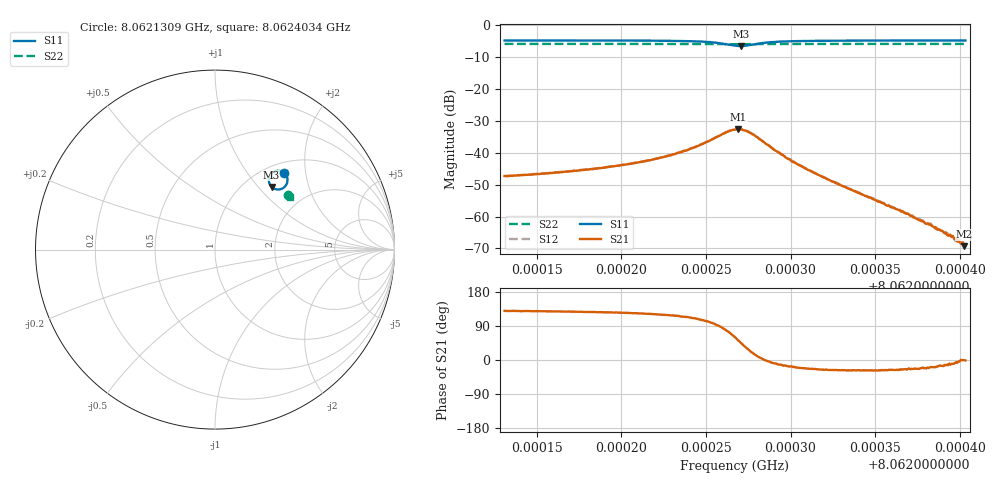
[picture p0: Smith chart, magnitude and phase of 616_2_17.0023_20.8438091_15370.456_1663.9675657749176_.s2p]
#  HZ  S  RI  R  50.00
! Rohde & Schwarz Vector Network Analyzer
! Rohde-Schwarz,ZNB20-2Port,1311601062101988,3.16
! Created: UTC 3/20/2024, 11:19:44 PM
! freq[Hz]  re:S11  im:S11  re:S21  im:S21  re:S12  im:S12  re:S22  im:S22
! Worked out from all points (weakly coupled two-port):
!   401 points, 8.0621309 GHz to 8.0624034 GHz, reference 50 ohm
!   highest |S21| = -32.59 dB at 8.0622692 GHz (marker M1); lowest = -69.3 dB at 8.0624028 GHz (marker M2)
!   lowest |S11| = -6.5 dB at 8.0622706 GHz (marker M3), VSWR 2.78, Z = 65.9 + j59.2 ohm
!   |S11| at or under -10 dB: nowhere
!   |S22| runs from -6.0 to -5.9 dB; largest |S21 - S12| = 0.0014
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8.06213089e9  0.3864 0.427  -0.00277 0.00331  -0.00257 0.0035  0.407 0.3042
8.06217654e9  0.3919 0.4208  -0.00323 0.00425  -0.00302 0.00448  0.4087 0.3018
8.06219835e9  0.3953 0.416  -0.00358 0.00515  -0.0033 0.00542  0.4093 0.3005
8.06222219e9  0.4002 0.4061  -0.00414 0.00712  -0.00376 0.00743  0.4104 0.2989
8.06223719e9  0.4034 0.3938  -0.00442 0.00984  -0.00374 0.01  0.4108 0.2975
8.06225286e9  0.399 0.3651  -0.00236 0.0157  -0.00157 0.0159  0.4108 0.2955
8.06226308e9  0.3659 0.337  0.00562 0.0208  0.00669 0.0206  0.4093 0.2944
8.06226717e9  0.3383 0.3367  0.0115 0.0201  0.0127 0.0195  0.4081 0.2945
8.06226921e9  0.324 0.3428  0.0147 0.0183  0.0157 0.0177  0.4077 0.2949
8.06227057e9  0.3155 0.3494  0.0163 0.0166  0.0174 0.0159  0.4075 0.2952
8.06227671e9  0.2995 0.3898  0.0188 0.00739  0.0194 0.00653  0.4076 0.2969
8.06228625e9  0.32 0.4283  0.0134 -0.000614  0.0135 -0.00146  0.4092 0.2978
8.06229987e9  0.3471 0.4389  0.00744 -0.00227  0.00732 -0.00281  0.411 0.2972
8.06231282e9  0.3604 0.4383  0.00461 -0.00199  0.00452 -0.00234  0.412 0.2964
8.06235847e9  0.3785 0.4319  0.00133 -0.000635  0.00127 -0.000763  0.4144 0.2938
8.06238232e9  0.3828 0.4292  0.000706 -0.00025  0.000691 -0.000304  0.4151 0.2924
8.06238914e9  0.3837 0.4288  0.000579 -0.000155  0.000557 -0.000174  0.4155 0.292
8.06239254e9  0.3842 0.4284  0.000505 -0.00011  0.000505 -0.000178  0.4156 0.2919
8.06239731e9  0.3849 0.428  0.000446 -6.24e-05  0.000413 -8.54e-05  0.4159 0.2915
8.06240072e9  0.3853 0.4278  0.000379 2.58e-06  0.000368 -6.04e-05  0.4158 0.2914
8.06240277e9  0.3855 0.4274  0.000343 -1.46e-06  0.000343 -1.23e-05  0.4158 0.2913
8.06240345e9  0.3856 0.4275  0.000356 -7.25e-06  0.000351 -2.08e-05  0.416 0.2913
